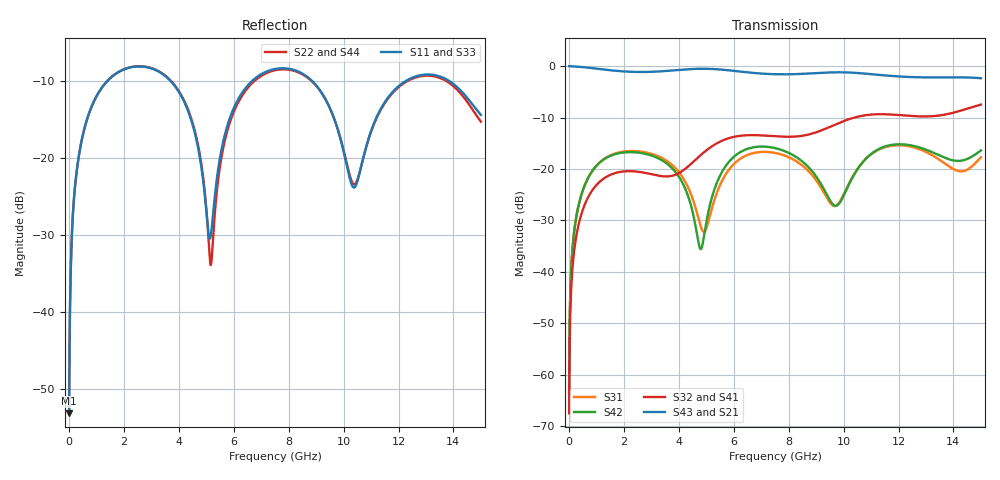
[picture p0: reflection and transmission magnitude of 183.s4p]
! Created with skrf 1.8.0 (http://scikit-rf.org).
# GHz S RI R 50.0
!freq ReS11 ImS11 ReS12 ImS12 ReS13 ImS13
! ReS14 ImS14
! ReS21 ImS21 ReS22 ImS22 ReS23 ImS23
! ReS24 ImS24
! ReS31 ImS31 ReS32 ImS32 ReS33 ImS33
! ReS34 ImS34
! ReS41 ImS41 ReS42 ImS42 ReS43 ImS43
! ReS44 ImS44
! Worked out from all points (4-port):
!   2499 points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, 5 MHz to 15 GHz, reference 50 ohm
!   strongest paths, dB at 5 MHz, 3.476 GHz, 7.19 GHz, 11.1 GHz, 15 GHz:
!     S43: 0.0, -1.0, -1.5, -1.6, -2.4
!     S21: 0.0, -1.0, -1.5, -1.6, -2.4
!     S32: -67.5, -21.4, -13.5, -9.4, -7.5
!     S41: -67.5, -21.5, -13.6, -9.4, -7.5
!     S42: -63.7, -18.6, -15.7, -16.7, -16.4
!     S31: -63.7, -18.1, -16.7, -16.8, -17.7
!   lowest |S11| = -53.2 dB at 5 MHz (marker M1), VSWR 1.00, Z = 50.2 + j0.134 ohm
!   |S11| at or under -10 dB: start of sweep to 1.383 GHz; 3.714 GHz to 6.649 GHz (2.935 GHz wide, 56.6 % of centre); 8.872 GHz to 12.24 GHz (3.367 GHz wide, 31.9 % of centre) (the widest 3 of 4)
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0.005  0.00174 0.00133  0.9982 -0.00339  8.63e-05 0.000647  -8.41e-05 -0.000413
       0.9982 -0.00339  0.00174 0.00133  -8.41e-05 -0.000413  8.62e-05 0.000647
       8.63e-05 0.000647  -8.41e-05 -0.000413  0.00174 0.00133  0.9982 -0.00339
       -8.41e-05 -0.000413  8.62e-05 0.000647  0.9982 -0.00339  0.00174 0.00133
0.3126303  0.0266 0.0871  0.9637 -0.2105  0.0118 0.0381  -0.00974 -0.024
           0.9637 -0.2105  0.0267 0.0871  -0.00975 -0.024  0.0114 0.0382
           0.0118 0.0381  -0.00975 -0.024  0.0266 0.0871  0.9637 -0.2105
           -0.00974 -0.024  0.0114 0.0382  0.9637 -0.2105  0.0267 0.0871
1.469362  0.2737 0.1806  0.5439 -0.7335  0.1235 0.0528  -0.0864 -0.00571
          0.5439 -0.7335  0.2752 0.1796  -0.0866 -0.00555  0.1186 0.0595
          0.1235 0.0528  -0.0866 -0.00555  0.2736 0.1807  0.5439 -0.7335
          -0.0864 -0.00571  0.1186 0.0595  0.5439 -0.7335  0.2753 0.1795
5.164652  0.0304 0.00818  -0.9376 -0.0494  -0.0151 0.0347  -0.00525 0.1631
          -0.9376 -0.0494  0.0202 -8.42e-05  -0.00242 0.1632  0.0281 0.0393
          -0.0151 0.0347  -0.00242 0.1632  0.0314 0.0075  -0.9376 -0.0494
          -0.00525 0.1631  0.0281 0.0393  -0.9376 -0.0494  0.0193 -0.00066
7.859525  0.3848 -0.0131  -0.0439 0.8303  0.1141 -0.0716  0.2003 -0.0405
          -0.0439 0.8303  0.3788 -0.00359  0.2005 -0.046  0.1184 -0.0901
          0.1141 -0.0716  0.2005 -0.046  0.3838 -0.0131  -0.0434 0.8304
          0.2003 -0.0405  0.1184 -0.0901  -0.0434 0.8304  0.3792 -0.00426
10.6857  0.079 0.0534  0.8466 -0.0686  0.0399 0.1081  -0.038 -0.3269
         0.8466 -0.0686  0.0811 0.0506  -0.0487 -0.3255  0.0434 0.107
         0.0399 0.1081  -0.0487 -0.3255  0.0805 0.0516  0.8465 -0.0697
         -0.038 -0.3269  0.0434 0.107  0.8465 -0.0697  0.0798 0.0519
15  0.1779 -0.071  -0.6593 -0.3821  -0.0928 0.0907  -0.2323 0.3538
    -0.6593 -0.3821  0.1625 -0.0599  -0.2158 0.3631  -0.1291 0.0787
    -0.0928 0.0907  -0.2158 0.3631  0.1773 -0.0727  -0.6612 -0.3792
    -0.2323 0.3538  -0.1291 0.0787  -0.6612 -0.3792  0.1593 -0.0554
